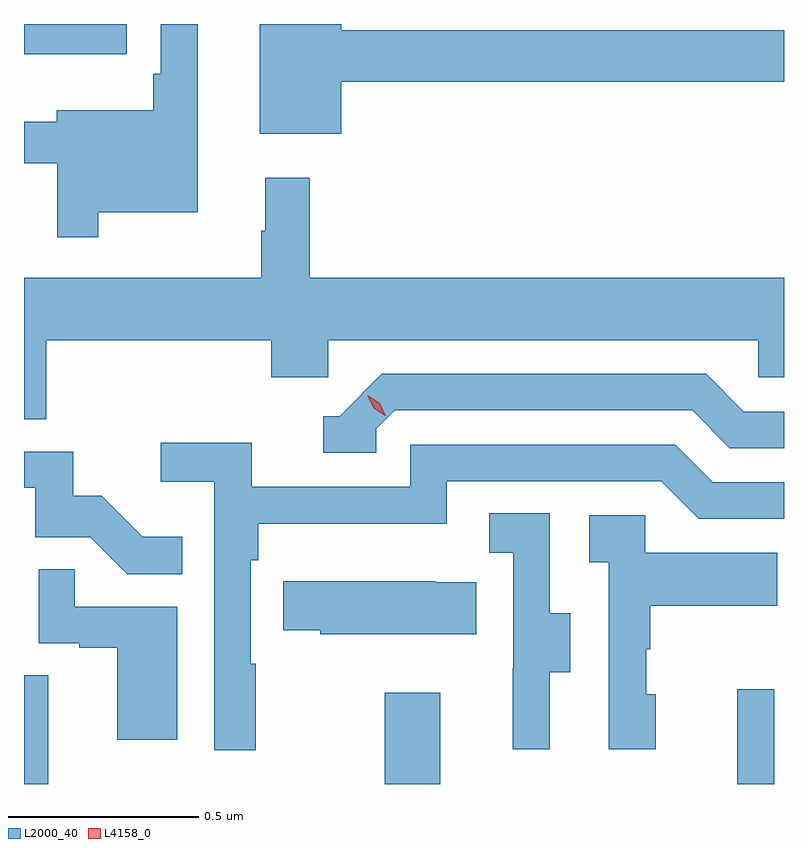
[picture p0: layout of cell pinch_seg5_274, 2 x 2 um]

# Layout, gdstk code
import gdstk
lib = gdstk.Library(unit=1e-6, precision=1e-09)
def R(c, l, rs):  # rectangles x0, y0, x1, y1
    for r in rs: c.add(gdstk.rectangle(r[:2], r[2:], *l))
def P(c, l, *ps):  # polygons
    for p in ps: c.add(gdstk.Polygon(p, *l))
L2000_40 = (2000, 40)
L4158_0 = (4158, 0)

pinch_seg5_274 = lib.new_cell('pinch_seg5_274')
R(pinch_seg5_274, L2000_40, [(913.461,896.884,913.525,897.17), (914.41,896.884,914.557,897.124), (915.338,896.884,915.435,897.133), (913.461,898.805,913.732,898.884)])
P(pinch_seg5_274, L2000_40, [(914.296,898.732),(915.461,898.732),(915.461,898.868),(914.296,898.868),(914.296,898.884),(914.081,898.884),(914.081,898.595),(914.296,898.595)],
  [(913.657,898.388),(913.918,898.388),(913.918,898.884),(913.821,898.884),(913.821,898.753),(913.801,898.753),(913.801,898.657),(913.547,898.657),(913.547,898.627),(913.461,898.627),(913.461,898.518),(913.548,898.518),(913.548,898.323),(913.657,898.323)],
  [(913.52,898.052),(914.111,898.052),(914.111,897.954),(914.262,897.954),(914.262,898.052),(915.393,898.052),(915.393,897.954),(915.461,897.954),(915.461,898.216),(914.213,898.216),(914.213,898.48),(914.096,898.48),(914.096,898.34),(914.085,898.34),(914.085,898.216),(913.461,898.216),(913.461,897.844),(913.52,897.844)],
  [(914.388,897.819),(914.436,897.867),(915.219,897.867),(915.318,897.768),(915.461,897.768),(915.461,897.864),(915.355,897.864),(915.256,897.963),(914.403,897.963),(914.292,897.852),(914.249,897.852),(914.249,897.756),(914.388,897.756)],
  [(914.071,897.2),(914.058,897.2),(914.058,897.473),(914.078,897.473),(914.078,897.569),(914.574,897.569),(914.574,897.681),(915.138,897.681),(915.237,897.582),(915.461,897.582),(915.461,897.678),(915.274,897.678),(915.175,897.777),(914.478,897.777),(914.478,897.666),(914.06,897.666),(914.06,897.782),(913.821,897.782),(913.821,897.68),(913.962,897.68),(913.962,896.973),(914.071,896.973)],
  [(913.877,897.535),(913.773,897.535),(913.666,897.642),(913.59,897.642),(913.59,897.759),(913.461,897.759),(913.461,897.663),(913.491,897.663),(913.491,897.534),(913.635,897.534),(913.733,897.436),(913.877,897.436)],
  [(914.845,897.178),(914.899,897.178),(914.899,897.333),(914.844,897.333),(914.844,897.596),(914.685,897.596),(914.685,897.493),(914.748,897.493),(914.748,897.189),(914.747,897.189),(914.747,896.976),(914.845,896.976)],
  [(915.124,897.12),(915.099,897.12),(915.099,897.239),(915.109,897.239),(915.109,897.353),(915.443,897.353),(915.443,897.493),(915.096,897.493),(915.096,897.591),(914.949,897.591),(914.949,897.467),(915,897.467),(915,896.976),(915.124,896.976)],
  [(913.864,897.351),(913.595,897.351),(913.595,897.449),(913.5,897.449),(913.5,897.255),(913.607,897.255),(913.607,897.243),(913.706,897.243),(913.706,897),(913.864,897)],
  [(914.651,897.415),(914.543,897.415),(914.543,897.418),(914.143,897.418),(914.143,897.289),(914.241,897.289),(914.241,897.278),(914.651,897.278)])
P(pinch_seg5_274, L4158_0, [(914.412,897.853),(914.382,897.873),(914.366,897.906),(914.366,897.906),(914.367,897.906),(914.397,897.886),(914.412,897.854),(914.412,897.853)])

lib.write_gds('pinch_seg5_274.gds')
